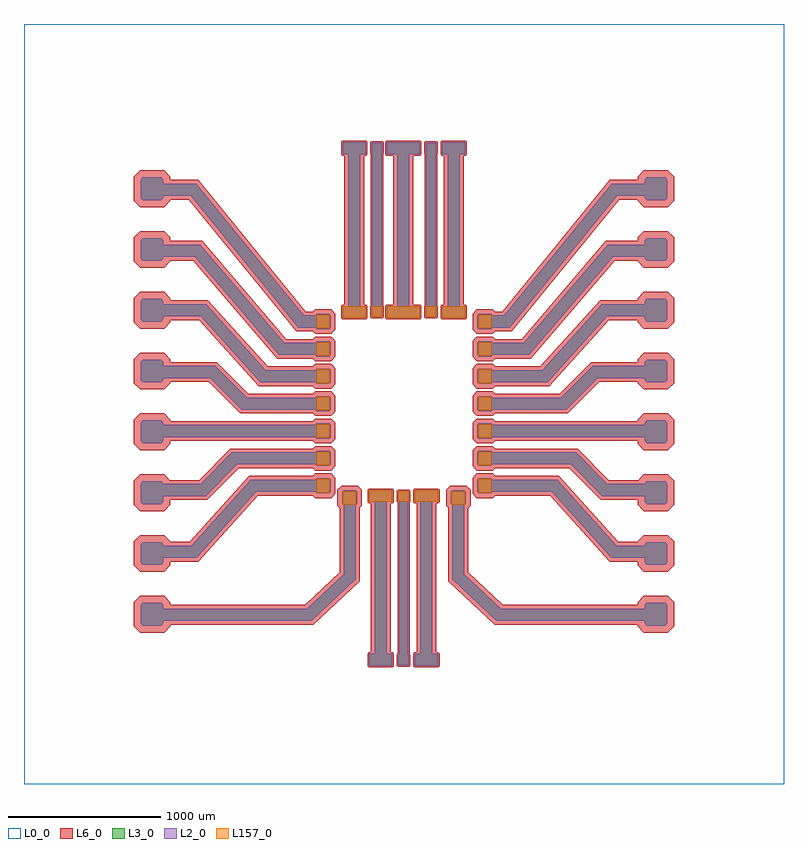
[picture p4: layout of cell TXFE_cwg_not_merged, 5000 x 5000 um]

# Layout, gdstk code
import gdstk
lib = gdstk.Library(unit=1e-6, precision=1e-09)
def R(c, l, rs):  # rectangles x0, y0, x1, y1
    for r in rs: c.add(gdstk.rectangle(r[:2], r[2:], *l))
def P(c, l, *ps):  # polygons
    for p in ps: c.add(gdstk.Polygon(p, *l))
L0_0 = (0, 0)
L2_0 = (2, 0)
L3_0 = (3, 0)
L6_0 = (6, 0)
L157_0 = (157, 0)

txfe_all_pads = lib.new_cell('TXFE_all_pads')
P(txfe_all_pads, L2_0, [(-1382.5,1774.099),(-1397.5,1789.099),(-1397.5,1909.099),(-1382.5,1924.099),(-1262.5,1924.099),(-1247.5,1909.099),(-1247.5,1789.099),(-1262.5,1774.099)],
  [(-1382.5,-1025.901),(-1397.5,-1010.901),(-1397.5,-890.901),(-1382.5,-875.901),(-1262.5,-875.901),(-1247.5,-890.901),(-1247.5,-1010.901),(-1262.5,-1025.901)],
  [(-1382.5,974.099),(-1397.5,989.099),(-1397.5,1109.099),(-1382.5,1124.099),(-1262.5,1124.099),(-1247.5,1109.099),(-1247.5,989.099),(-1262.5,974.099)],
  [(-1382.5,-625.902),(-1397.5,-610.902),(-1397.5,-490.902),(-1382.5,-475.902),(-1262.5,-475.902),(-1247.5,-490.902),(-1247.5,-610.902),(-1262.5,-625.902)],
  [(-1382.5,-225.903),(-1397.5,-210.903),(-1397.5,-90.901),(-1382.5,-75.901),(-1262.5,-75.901),(-1247.5,-90.901),(-1247.5,-210.903),(-1262.5,-225.903)],
  [(-1382.5,174.098),(-1397.5,189.098),(-1397.5,309.098),(-1382.5,324.098),(-1262.5,324.098),(-1247.5,309.098),(-1247.5,189.098),(-1262.5,174.098)],
  [(-1382.5,574.099),(-1397.5,589.099),(-1397.5,709.099),(-1382.5,724.099),(-1262.5,724.099),(-1247.5,709.099),(-1247.5,589.099),(-1262.5,574.099)],
  [(-1382.5,1374.099),(-1397.5,1389.099),(-1397.5,1509.099),(-1382.5,1524.099),(-1262.5,1524.099),(-1247.5,1509.099),(-1247.5,1389.099),(-1262.5,1374.099)],
  [(1932.501,174.098),(1917.501,189.098),(1917.501,309.098),(1932.501,324.098),(2052.501,324.098),(2067.501,309.098),(2067.501,189.098),(2052.501,174.098)],
  [(1932.501,-625.902),(1917.501,-610.902),(1917.501,-490.902),(1932.501,-475.902),(2052.501,-475.902),(2067.501,-490.902),(2067.501,-610.902),(2052.501,-625.902)],
  [(1932.501,-225.903),(1917.501,-210.903),(1917.501,-90.901),(1932.501,-75.901),(2052.501,-75.901),(2067.501,-90.901),(2067.501,-210.903),(2052.501,-225.903)],
  [(1932.501,574.098),(1917.501,589.098),(1917.501,709.098),(1932.501,724.098),(2052.501,724.098),(2067.501,709.098),(2067.501,589.098),(2052.501,574.098)],
  [(1932.501,974.098),(1917.501,989.098),(1917.501,1109.098),(1932.501,1124.098),(2052.501,1124.098),(2067.501,1109.098),(2067.501,989.098),(2052.501,974.098)],
  [(1932.501,1374.099),(1917.501,1389.099),(1917.501,1509.099),(1932.501,1524.099),(2052.501,1524.099),(2067.501,1509.099),(2067.501,1389.099),(2052.501,1374.099)],
  [(1932.501,-1025.902),(1917.501,-1010.902),(1917.501,-890.902),(1932.501,-875.902),(2052.501,-875.902),(2067.501,-890.902),(2067.501,-1010.902),(2052.501,-1025.902)],
  [(1932.501,1774.099),(1917.501,1789.099),(1917.501,1909.099),(1932.501,1924.099),(2052.501,1924.099),(2067.501,1909.099),(2067.501,1789.099),(2052.501,1774.099)],
  [(108,-1289.495),(106,-1287.495),(106,-1213.5),(108,-1211.5),(257,-1211.5),(259,-1213.5),(259,-1287.495),(257,-1289.495)],
  [(408,-1289.495),(406,-1287.495),(406,-1213.5),(408,-1211.5),(557,-1211.5),(559,-1213.5),(559,-1287.495),(557,-1289.495)],
  [(300,-1287.005),(298,-1285.005),(298,-1220.005),(300,-1218.005),(365,-1218.005),(367,-1220.005),(367,-1285.005),(365,-1287.005)],
  [(-67,2076.49),(-69,2078.49),(-69,2152.485),(-67,2154.485),(82,2154.485),(84,2152.485),(84,2078.49),(82,2076.49)],
  [(588,2076.49),(586,2078.49),(586,2152.485),(588,2154.485),(737,2154.485),(739,2152.485),(739,2078.49),(737,2076.49)],
  [(125,2082.995),(123,2084.995),(123,2149.995),(125,2151.995),(190,2151.995),(192,2149.995),(192,2084.995),(190,2082.995)],
  [(480,2082.995),(478,2084.995),(478,2149.995),(480,2151.995),(545,2151.995),(547,2149.995),(547,2084.995),(545,2082.995)],
  [(223,2076.49),(221,2078.49),(221,2152.485),(223,2154.485),(437,2154.485),(439,2152.485),(439,2078.49),(437,2076.49)],
  [(-237.5,924.995),(-247.5,934.995),(-247.5,1014.995),(-237.5,1024.995),(-157.5,1024.995),(-147.5,1014.995),(-147.5,934.995),(-157.5,924.995)],
  [(-237.5,384.995),(-247.5,394.995),(-247.5,474.995),(-237.5,484.995),(-157.5,484.995),(-147.5,474.995),(-147.5,394.995),(-157.5,384.995)],
  [(-237.5,744.995),(-247.5,754.995),(-247.5,834.995),(-237.5,844.995),(-157.5,844.995),(-147.5,834.995),(-147.5,754.995),(-157.5,744.995)],
  [(-237.5,204.995),(-247.5,214.995),(-247.5,294.995),(-237.5,304.995),(-157.5,304.995),(-147.5,294.995),(-147.5,214.995),(-157.5,204.995)],
  [(-237.5,24.995),(-247.5,34.995),(-247.5,114.995),(-237.5,124.995),(-157.5,124.995),(-147.5,114.995),(-147.5,34.995),(-157.5,24.995)],
  [(-237.5,-155.005),(-247.5,-145.005),(-247.5,-65.005),(-237.5,-55.005),(-157.5,-55.005),(-147.5,-65.005),(-147.5,-145.005),(-157.5,-155.005)],
  [(827.5,744.995),(817.5,754.995),(817.5,834.995),(827.5,844.995),(907.5,844.995),(917.5,834.995),(917.5,754.995),(907.5,744.995)],
  [(827.5,564.995),(817.5,574.995),(817.5,654.995),(827.5,664.995),(907.5,664.995),(917.5,654.995),(917.5,574.995),(907.5,564.995)],
  [(827.5,384.995),(817.5,394.995),(817.5,474.995),(827.5,484.995),(907.5,484.995),(917.5,474.995),(917.5,394.995),(907.5,384.995)],
  [(827.5,24.995),(817.5,34.995),(817.5,114.995),(827.5,124.995),(907.5,124.995),(917.5,114.995),(917.5,34.995),(907.5,24.995)],
  [(827.5,-155.005),(817.5,-145.005),(817.5,-65.005),(827.5,-55.005),(907.5,-55.005),(917.5,-65.005),(917.5,-145.005),(907.5,-155.005)],
  [(-62.5,-235.005),(-72.5,-225.005),(-72.5,-145.005),(-62.5,-135.005),(17.5,-135.005),(27.5,-145.005),(27.5,-225.005),(17.5,-235.005)],
  [(652.5,-235.005),(642.5,-225.005),(642.5,-145.005),(652.5,-135.005),(732.5,-135.005),(742.5,-145.005),(742.5,-225.005),(732.5,-235.005)],
  [(827.5,924.995),(817.5,934.995),(817.5,1014.995),(827.5,1024.995),(907.5,1024.995),(917.5,1014.995),(917.5,934.995),(907.5,924.995)],
  [(-237.5,564.995),(-247.5,574.995),(-247.5,654.995),(-237.5,664.995),(-157.5,664.995),(-147.5,654.995),(-147.5,574.995),(-157.5,564.995)],
  [(827.5,204.995),(817.5,214.995),(817.5,294.995),(827.5,304.995),(907.5,304.995),(917.5,294.995),(917.5,214.995),(907.5,204.995)],
  [(108,-211.5),(106,-209.5),(106,-135.505),(108,-133.505),(257,-133.505),(259,-135.505),(259,-209.5),(257,-211.5)],
  [(408,-211.5),(406,-209.5),(406,-135.505),(408,-133.505),(557,-133.505),(559,-135.505),(559,-209.5),(557,-211.5)],
  [(300,-209.01),(298,-207.01),(298,-142.01),(300,-140.01),(365,-140.01),(367,-142.01),(367,-207.01),(365,-209.01)],
  [(-67,998.495),(-69,1000.495),(-69,1074.49),(-67,1076.49),(82,1076.49),(84,1074.49),(84,1000.495),(82,998.495)],
  [(588,998.495),(586,1000.495),(586,1074.49),(588,1076.49),(737,1076.49),(739,1074.49),(739,1000.495),(737,998.495)],
  [(125,1005),(123,1007),(123,1072),(125,1074),(190,1074),(192,1072),(192,1007),(190,1005)],
  [(480,1005),(478,1007),(478,1072),(480,1074),(545,1074),(547,1072),(547,1007),(545,1005)],
  [(223,998.495),(221,1000.495),(221,1074.49),(223,1076.49),(437,1076.49),(439,1074.49),(439,1000.495),(437,998.495)])
P(txfe_all_pads, L3_0, [(-1382.5,1774.099),(-1397.5,1789.099),(-1397.5,1909.099),(-1382.5,1924.099),(-1262.5,1924.099),(-1247.5,1909.099),(-1247.5,1789.099),(-1262.5,1774.099)],
  [(-1382.5,-1025.901),(-1397.5,-1010.901),(-1397.5,-890.901),(-1382.5,-875.901),(-1262.5,-875.901),(-1247.5,-890.901),(-1247.5,-1010.901),(-1262.5,-1025.901)],
  [(-1382.5,974.099),(-1397.5,989.099),(-1397.5,1109.099),(-1382.5,1124.099),(-1262.5,1124.099),(-1247.5,1109.099),(-1247.5,989.099),(-1262.5,974.099)],
  [(-1382.5,-625.902),(-1397.5,-610.902),(-1397.5,-490.902),(-1382.5,-475.902),(-1262.5,-475.902),(-1247.5,-490.902),(-1247.5,-610.902),(-1262.5,-625.902)],
  [(-1382.5,-225.903),(-1397.5,-210.903),(-1397.5,-90.901),(-1382.5,-75.901),(-1262.5,-75.901),(-1247.5,-90.901),(-1247.5,-210.903),(-1262.5,-225.903)],
  [(-1382.5,174.098),(-1397.5,189.098),(-1397.5,309.098),(-1382.5,324.098),(-1262.5,324.098),(-1247.5,309.098),(-1247.5,189.098),(-1262.5,174.098)],
  [(-1382.5,574.099),(-1397.5,589.099),(-1397.5,709.099),(-1382.5,724.099),(-1262.5,724.099),(-1247.5,709.099),(-1247.5,589.099),(-1262.5,574.099)],
  [(-1382.5,1374.099),(-1397.5,1389.099),(-1397.5,1509.099),(-1382.5,1524.099),(-1262.5,1524.099),(-1247.5,1509.099),(-1247.5,1389.099),(-1262.5,1374.099)],
  [(1932.501,174.098),(1917.501,189.098),(1917.501,309.098),(1932.501,324.098),(2052.501,324.098),(2067.501,309.098),(2067.501,189.098),(2052.501,174.098)],
  [(1932.501,-625.902),(1917.501,-610.902),(1917.501,-490.902),(1932.501,-475.902),(2052.501,-475.902),(2067.501,-490.902),(2067.501,-610.902),(2052.501,-625.902)],
  [(1932.501,-225.903),(1917.501,-210.903),(1917.501,-90.901),(1932.501,-75.901),(2052.501,-75.901),(2067.501,-90.901),(2067.501,-210.903),(2052.501,-225.903)],
  [(1932.501,574.098),(1917.501,589.098),(1917.501,709.098),(1932.501,724.098),(2052.501,724.098),(2067.501,709.098),(2067.501,589.098),(2052.501,574.098)],
  [(1932.501,974.098),(1917.501,989.098),(1917.501,1109.098),(1932.501,1124.098),(2052.501,1124.098),(2067.501,1109.098),(2067.501,989.098),(2052.501,974.098)],
  [(1932.501,1374.099),(1917.501,1389.099),(1917.501,1509.099),(1932.501,1524.099),(2052.501,1524.099),(2067.501,1509.099),(2067.501,1389.099),(2052.501,1374.099)],
  [(1932.501,-1025.902),(1917.501,-1010.902),(1917.501,-890.902),(1932.501,-875.902),(2052.501,-875.902),(2067.501,-890.902),(2067.501,-1010.902),(2052.501,-1025.902)],
  [(108,-1289.495),(106,-1287.495),(106,-1213.5),(108,-1211.5),(257,-1211.5),(259,-1213.5),(259,-1287.495),(257,-1289.495)],
  [(408,-1289.495),(406,-1287.495),(406,-1213.5),(408,-1211.5),(557,-1211.5),(559,-1213.5),(559,-1287.495),(557,-1289.495)],
  [(300,-1287.005),(298,-1285.005),(298,-1220.005),(300,-1218.005),(365,-1218.005),(367,-1220.005),(367,-1285.005),(365,-1287.005)],
  [(-67,2076.49),(-69,2078.49),(-69,2152.485),(-67,2154.485),(82,2154.485),(84,2152.485),(84,2078.49),(82,2076.49)],
  [(588,2076.49),(586,2078.49),(586,2152.485),(588,2154.485),(737,2154.485),(739,2152.485),(739,2078.49),(737,2076.49)],
  [(125,2082.995),(123,2084.995),(123,2149.995),(125,2151.995),(190,2151.995),(192,2149.995),(192,2084.995),(190,2082.995)],
  [(480,2082.995),(478,2084.995),(478,2149.995),(480,2151.995),(545,2151.995),(547,2149.995),(547,2084.995),(545,2082.995)],
  [(223,2076.49),(221,2078.49),(221,2152.485),(223,2154.485),(437,2154.485),(439,2152.485),(439,2078.49),(437,2076.49)],
  [(1932.501,1774.099),(1917.501,1789.099),(1917.501,1909.099),(1932.501,1924.099),(2052.501,1924.099),(2067.501,1909.099),(2067.501,1789.099),(2052.501,1774.099)],
  [(-237.5,924.995),(-247.5,934.995),(-247.5,1014.995),(-237.5,1024.995),(-157.5,1024.995),(-147.5,1014.995),(-147.5,934.995),(-157.5,924.995)],
  [(-237.5,384.995),(-247.5,394.995),(-247.5,474.995),(-237.5,484.995),(-157.5,484.995),(-147.5,474.995),(-147.5,394.995),(-157.5,384.995)],
  [(-237.5,744.995),(-247.5,754.995),(-247.5,834.995),(-237.5,844.995),(-157.5,844.995),(-147.5,834.995),(-147.5,754.995),(-157.5,744.995)],
  [(-237.5,204.995),(-247.5,214.995),(-247.5,294.995),(-237.5,304.995),(-157.5,304.995),(-147.5,294.995),(-147.5,214.995),(-157.5,204.995)],
  [(-237.5,24.995),(-247.5,34.995),(-247.5,114.995),(-237.5,124.995),(-157.5,124.995),(-147.5,114.995),(-147.5,34.995),(-157.5,24.995)],
  [(-237.5,-155.005),(-247.5,-145.005),(-247.5,-65.005),(-237.5,-55.005),(-157.5,-55.005),(-147.5,-65.005),(-147.5,-145.005),(-157.5,-155.005)],
  [(827.5,744.995),(817.5,754.995),(817.5,834.995),(827.5,844.995),(907.5,844.995),(917.5,834.995),(917.5,754.995),(907.5,744.995)],
  [(827.5,564.995),(817.5,574.995),(817.5,654.995),(827.5,664.995),(907.5,664.995),(917.5,654.995),(917.5,574.995),(907.5,564.995)],
  [(827.5,384.995),(817.5,394.995),(817.5,474.995),(827.5,484.995),(907.5,484.995),(917.5,474.995),(917.5,394.995),(907.5,384.995)],
  [(827.5,24.995),(817.5,34.995),(817.5,114.995),(827.5,124.995),(907.5,124.995),(917.5,114.995),(917.5,34.995),(907.5,24.995)],
  [(827.5,-155.005),(817.5,-145.005),(817.5,-65.005),(827.5,-55.005),(907.5,-55.005),(917.5,-65.005),(917.5,-145.005),(907.5,-155.005)],
  [(-62.5,-235.005),(-72.5,-225.005),(-72.5,-145.005),(-62.5,-135.005),(17.5,-135.005),(27.5,-145.005),(27.5,-225.005),(17.5,-235.005)],
  [(652.5,-235.005),(642.5,-225.005),(642.5,-145.005),(652.5,-135.005),(732.5,-135.005),(742.5,-145.005),(742.5,-225.005),(732.5,-235.005)],
  [(827.5,924.995),(817.5,934.995),(817.5,1014.995),(827.5,1024.995),(907.5,1024.995),(917.5,1014.995),(917.5,934.995),(907.5,924.995)],
  [(-237.5,564.995),(-247.5,574.995),(-247.5,654.995),(-237.5,664.995),(-157.5,664.995),(-147.5,654.995),(-147.5,574.995),(-157.5,564.995)],
  [(827.5,204.995),(817.5,214.995),(817.5,294.995),(827.5,304.995),(907.5,304.995),(917.5,294.995),(917.5,214.995),(907.5,204.995)],
  [(108,-211.5),(106,-209.5),(106,-135.505),(108,-133.505),(257,-133.505),(259,-135.505),(259,-209.5),(257,-211.5)],
  [(408,-211.5),(406,-209.5),(406,-135.505),(408,-133.505),(557,-133.505),(559,-135.505),(559,-209.5),(557,-211.5)],
  [(300,-209.01),(298,-207.01),(298,-142.01),(300,-140.01),(365,-140.01),(367,-142.01),(367,-207.01),(365,-209.01)],
  [(-67,998.495),(-69,1000.495),(-69,1074.49),(-67,1076.49),(82,1076.49),(84,1074.49),(84,1000.495),(82,998.495)],
  [(588,998.495),(586,1000.495),(586,1074.49),(588,1076.49),(737,1076.49),(739,1074.49),(739,1000.495),(737,998.495)],
  [(125,1005),(123,1007),(123,1072),(125,1074),(190,1074),(192,1072),(192,1007),(190,1005)],
  [(480,1005),(478,1007),(478,1072),(480,1074),(545,1074),(547,1072),(547,1007),(545,1005)],
  [(223,998.495),(221,1000.495),(221,1074.49),(223,1076.49),(437,1076.49),(439,1074.49),(439,1000.495),(437,998.495)])
P(txfe_all_pads, L157_0, [(649.5,-230.005),(647.5,-228.005),(647.5,-142.005),(649.5,-140.005),(735.5,-140.005),(737.5,-142.005),(737.5,-228.005),(735.5,-230.005)],
  [(-65.5,-230.005),(-67.5,-228.005),(-67.5,-142.005),(-65.5,-140.005),(20.5,-140.005),(22.5,-142.005),(22.5,-228.005),(20.5,-230.005)],
  [(-240.5,209.995),(-242.5,211.995),(-242.5,297.995),(-240.5,299.995),(-154.5,299.995),(-152.5,297.995),(-152.5,211.995),(-154.5,209.995)],
  [(-240.5,569.995),(-242.5,571.995),(-242.5,657.995),(-240.5,659.995),(-154.5,659.995),(-152.5,657.995),(-152.5,571.995),(-154.5,569.995)],
  [(-240.5,929.995),(-242.5,931.995),(-242.5,1017.995),(-240.5,1019.995),(-154.5,1019.995),(-152.5,1017.995),(-152.5,931.995),(-154.5,929.995)],
  [(-240.5,749.995),(-242.5,751.995),(-242.5,837.995),(-240.5,839.995),(-154.5,839.995),(-152.5,837.995),(-152.5,751.995),(-154.5,749.995)],
  [(824.5,-150.005),(822.5,-148.005),(822.5,-62.005),(824.5,-60.005),(910.5,-60.005),(912.5,-62.005),(912.5,-148.005),(910.5,-150.005)],
  [(125,1005),(123,1007),(123,1072),(125,1074),(190,1074),(192,1072),(192,1007),(190,1005)],
  [(-240.5,29.995),(-242.5,31.995),(-242.5,117.995),(-240.5,119.995),(-154.5,119.995),(-152.5,117.995),(-152.5,31.995),(-154.5,29.995)],
  [(-240.5,-150.005),(-242.5,-148.005),(-242.5,-62.005),(-240.5,-60.005),(-154.5,-60.005),(-152.5,-62.005),(-152.5,-148.005),(-154.5,-150.005)],
  [(-240.5,389.995),(-242.5,391.995),(-242.5,477.995),(-240.5,479.995),(-154.5,479.995),(-152.5,477.995),(-152.5,391.995),(-154.5,389.995)],
  [(824.5,569.995),(822.5,571.995),(822.5,657.995),(824.5,659.995),(910.5,659.995),(912.5,657.995),(912.5,571.995),(910.5,569.995)],
  [(824.5,749.995),(822.5,751.995),(822.5,837.995),(824.5,839.995),(910.5,839.995),(912.5,837.995),(912.5,751.995),(910.5,749.995)],
  [(588,998.495),(586,1000.495),(586,1074.49),(588,1076.49),(737,1076.49),(739,1074.49),(739,1000.495),(737,998.495)],
  [(824.5,929.995),(822.5,931.995),(822.5,1017.995),(824.5,1019.995),(910.5,1019.995),(912.5,1017.995),(912.5,931.995),(910.5,929.995)],
  [(824.5,389.995),(822.5,391.995),(822.5,477.995),(824.5,479.995),(910.5,479.995),(912.5,477.995),(912.5,391.995),(910.5,389.995)],
  [(480,1005),(478,1007),(478,1072),(480,1074),(545,1074),(547,1072),(547,1007),(545,1005)],
  [(824.5,209.995),(822.5,211.995),(822.5,297.995),(824.5,299.995),(910.5,299.995),(912.5,297.995),(912.5,211.995),(910.5,209.995)],
  [(824.5,29.995),(822.5,31.995),(822.5,117.995),(824.5,119.995),(910.5,119.995),(912.5,117.995),(912.5,31.995),(910.5,29.995)],
  [(223,998.495),(221,1000.495),(221,1074.49),(223,1076.49),(437,1076.49),(439,1074.49),(439,1000.495),(437,998.495)],
  [(-67,998.495),(-69,1000.495),(-69,1074.49),(-67,1076.49),(82,1076.49),(84,1074.49),(84,1000.495),(82,998.495)],
  [(300,-209.01),(298,-207.01),(298,-142.01),(300,-140.01),(365,-140.01),(367,-142.01),(367,-207.01),(365,-209.01)],
  [(408,-211.5),(406,-209.5),(406,-135.505),(408,-133.505),(557,-133.505),(559,-135.505),(559,-209.5),(557,-211.5)],
  [(108,-211.5),(106,-209.5),(106,-135.505),(108,-133.505),(257,-133.505),(259,-135.505),(259,-209.5),(257,-211.5)])
txfe_all_pads.add(gdstk.Label('Vref_CMFB_mixer', (1801.4,-977.1), layer=5, texttype=0))
txfe_all_pads.add(gdstk.Label('SPI_enable', (1958.6,-556.8), layer=5, texttype=0))
txfe_all_pads.add(gdstk.Label('SPI_clk', (1964.8,-156), layer=5, texttype=0))
txfe_all_pads.add(gdstk.Label('SPI_data', (1952.4,240.2), layer=5, texttype=0))
txfe_all_pads.add(gdstk.Label('GND', (1958.6,620.8), layer=5, texttype=0))
txfe_all_pads.add(gdstk.Label('BB_P', (1989.4,1002.4), layer=5, texttype=0))
txfe_all_pads.add(gdstk.Label('BB_N', (1977.1,1421.7), layer=5, texttype=0))
txfe_all_pads.add(gdstk.Label('VDD_LNA2', (1974,1824.2), layer=5, texttype=0))
txfe_all_pads.add(gdstk.Label('VDD_ESD', (-1362.7,242.4), layer=5, texttype=0))
txfe_all_pads.add(gdstk.Label('VDD_LO', (-1326.8,-154), layer=5, texttype=0))
txfe_all_pads.add(gdstk.Label('GND', (-1359,-592.2), layer=5, texttype=0))
txfe_all_pads.add(gdstk.Label('Iref', (-1344.6,-978.7), layer=5, texttype=0))
txfe_all_pads.add(gdstk.Label('VDD_PN', (-1351.8,624.8), layer=5, texttype=0))
txfe_all_pads.add(gdstk.Label('GND', (-1349.8,1022.2), layer=5, texttype=0))
txfe_all_pads.add(gdstk.Label('VDD_CM', (-1344.8,1436.2), layer=5, texttype=0))
txfe_all_pads.add(gdstk.Label('VDD_LNA1', (-1338.8,1838.2), layer=5, texttype=0))
txfe_all_pads.add(gdstk.Label('VDD_LNA2', (867.5,974.4), layer=5, texttype=0))
txfe_all_pads.add(gdstk.Label('BB_N', (867.5,794.4), layer=5, texttype=0))
txfe_all_pads.add(gdstk.Label('BB_P', (867.5,611.4), layer=5, texttype=0))
txfe_all_pads.add(gdstk.Label('GND', (867.5,435.1), layer=5, texttype=0))
txfe_all_pads.add(gdstk.Label('SPI_data', (867.5,249.1), layer=5, texttype=0))
txfe_all_pads.add(gdstk.Label('SPI_clk', (867.5,71.3), layer=5, texttype=0))
txfe_all_pads.add(gdstk.Label('SPI_enable', (867.5,-111.7), layer=5, texttype=0))
txfe_all_pads.add(gdstk.Label('Vref_CMFB_mixer', (642.6,-192.4), layer=5, texttype=0))
txfe_all_pads.add(gdstk.Label('VDD_LNA1', (-197.5,971.4), layer=5, texttype=0))
txfe_all_pads.add(gdstk.Label('VDD_CM', (-197.5,789.7), layer=5, texttype=0))
txfe_all_pads.add(gdstk.Label('GND', (-197.5,612.3), layer=5, texttype=0))
txfe_all_pads.add(gdstk.Label('VDD_PN', (-197.5,429.5), layer=5, texttype=0))
txfe_all_pads.add(gdstk.Label('VDD_ESD', (-197.5,262.9), layer=5, texttype=0))
txfe_all_pads.add(gdstk.Label('VDD_LO', (-197.5,72.6), layer=5, texttype=0))
txfe_all_pads.add(gdstk.Label('GND', (-197.5,-108.6), layer=5, texttype=0))
txfe_all_pads.add(gdstk.Label('Iref', (-34.4,-190.8), layer=5, texttype=0))
txfe_all_pads.add(gdstk.Label('Iref', (-34.4,-190.8), layer=5, texttype=0))
txfe_all_pads.add(gdstk.Label('GND', (-197.5,-108.6), layer=5, texttype=0))
txfe_all_pads.add(gdstk.Label('VDD_LO', (-197.5,72.6), layer=5, texttype=0))
txfe_all_pads.add(gdstk.Label('VDD_ESD', (-197.5,262.9), layer=5, texttype=0))
txfe_all_pads.add(gdstk.Label('VDD_PN', (-197.5,429.5), layer=5, texttype=0))
txfe_all_pads.add(gdstk.Label('GND', (-197.5,612.3), layer=5, texttype=0))
txfe_all_pads.add(gdstk.Label('VDD_CM', (-197.5,789.7), layer=5, texttype=0))
txfe_all_pads.add(gdstk.Label('VDD_LNA1', (-197.5,971.4), layer=5, texttype=0))
txfe_all_pads.add(gdstk.Label('Vref_CMFB_mixer', (642.6,-192.4), layer=5, texttype=0))
txfe_all_pads.add(gdstk.Label('SPI_enable', (867.5,-111.7), layer=5, texttype=0))
txfe_all_pads.add(gdstk.Label('SPI_clk', (867.5,71.3), layer=5, texttype=0))
txfe_all_pads.add(gdstk.Label('SPI_data', (867.5,249.1), layer=5, texttype=0))
txfe_all_pads.add(gdstk.Label('GND', (867.5,435.1), layer=5, texttype=0))
txfe_all_pads.add(gdstk.Label('BB_P', (867.5,611.4), layer=5, texttype=0))
txfe_all_pads.add(gdstk.Label('BB_N', (867.5,794.4), layer=5, texttype=0))
txfe_all_pads.add(gdstk.Label('VDD_LNA2', (867.5,974.4), layer=5, texttype=0))

txfe_all_pads_connected = lib.new_cell('TXFE_all_pads_connected')
txfe_all_pads_connected.add(gdstk.FlexPath([(6952.3,1131.5),(7062,1131.5),(7768.8,1998.7),(7971.9,1998.7),(7971.9,1998.7)], 80, ends="extended", simple_path=True, layer=3, datatype=0))  # L3_0
txfe_all_pads_connected.add(gdstk.FlexPath([(6934,951.5),(7189.7,951.5),(7741.9,1597.2),(7946.3,1597.2),(7946.3,1597.2),(7946.3,1597.2)], 80, ends="extended", simple_path=True, layer=3, datatype=0))  # L3_0
txfe_all_pads_connected.add(gdstk.FlexPath([(6931.6,771.7),(7310.7,771.9),(7702.7,1206.5),(7933.4,1206.5)], 80, ends="extended", simple_path=True, layer=3, datatype=0))  # L3_0
txfe_all_pads_connected.add(gdstk.FlexPath([(6935.9,591.6),(7435.8,591.9),(7641.7,799.9),(7978.5,799.9)], 80, ends="extended", simple_path=True, layer=3, datatype=0))  # L3_0
txfe_all_pads_connected.add(gdstk.FlexPath([(6944.9,411.4),(7970.7,411.3),(7970.7,411.3),(7970.7,411.3)], 80, ends="extended", simple_path=True, layer=3, datatype=0))  # L3_0
txfe_all_pads_connected.add(gdstk.FlexPath([(6999.7,231.2),(7499.6,230.9),(7705.5,22.9),(8042.3,22.9)], 80, ends="extended", simple_path=True, layer=3, datatype=0))  # L3_0
txfe_all_pads_connected.add(gdstk.FlexPath([(6994.7,51.8),(7373.8,51.6),(7765.8,-383),(7996.5,-383)], 80, ends="extended", simple_path=True, layer=3, datatype=0))  # L3_0
txfe_all_pads_connected.add(gdstk.FlexPath([(6741.7,-91.1),(6741.2,-547.4),(7007.2,-797.1),(7995,-797.6)], 80, ends="extended", simple_path=True, layer=3, datatype=0))  # L3_0
txfe_all_pads_connected.add(gdstk.FlexPath([(6026.7,-91),(6027.2,-547.3),(5761.2,-797),(4773.4,-797.5)], 80, ends="extended", simple_path=True, layer=3, datatype=0))  # L3_0
txfe_all_pads_connected.add(gdstk.FlexPath([(5773.7,51.9),(5394.6,51.7),(5002.6,-382.9),(4771.9,-382.9)], 80, ends="extended", simple_path=True, layer=3, datatype=0))  # L3_0
txfe_all_pads_connected.add(gdstk.FlexPath([(5768.7,231.3),(5268.8,231),(5062.9,23),(4726.1,23)], 80, ends="extended", simple_path=True, layer=3, datatype=0))  # L3_0
txfe_all_pads_connected.add(gdstk.FlexPath([(5823.5,411.5),(4797.7,411.4),(4797.7,411.4),(4797.7,411.4)], 80, ends="extended", simple_path=True, layer=3, datatype=0))  # L3_0
txfe_all_pads_connected.add(gdstk.FlexPath([(5832.5,591.7),(5332.6,592),(5126.7,800),(4789.9,800)], 80, ends="extended", simple_path=True, layer=3, datatype=0))  # L3_0
txfe_all_pads_connected.add(gdstk.FlexPath([(5836.8,771.8),(5457.7,772),(5065.7,1206.6),(4835,1206.6)], 80, ends="extended", simple_path=True, layer=3, datatype=0))  # L3_0
txfe_all_pads_connected.add(gdstk.FlexPath([(5834.4,951.6),(5578.7,951.6),(5026.5,1597.3),(4822.1,1597.3),(4822.1,1597.3),(4822.1,1597.3)], 80, ends="extended", simple_path=True, layer=3, datatype=0))  # L3_0
txfe_all_pads_connected.add(gdstk.FlexPath([(5816.1,1131.6),(5706.4,1131.6),(4999.6,1998.8),(4796.5,1998.8),(4796.5,1998.8)], 80, ends="extended", simple_path=True, layer=3, datatype=0))  # L3_0
txfe_all_pads_connected.add(gdstk.FlexPath([(6056.7,1249.5),(6056.7,2207.7)], 80, ends="extended", simple_path=True, layer=3, datatype=0))  # L3_0
txfe_all_pads_connected.add(gdstk.FlexPath([(6206.7,1241.6),(6206.7,2138.5),(6206.7,2219.2)], 60, ends="extended", simple_path=True, layer=3, datatype=0))  # L3_0
txfe_all_pads_connected.add(gdstk.FlexPath([(6561.7,1245.1),(6561.7,2142),(6561.7,2222.7)], 60, ends="extended", simple_path=True, layer=3, datatype=0))  # L3_0
txfe_all_pads_connected.add(gdstk.FlexPath([(6381.7,-1049),(6381.7,-152.1),(6381.7,-71.4)], 60, ends="extended", simple_path=True, layer=3, datatype=0))  # L3_0
txfe_all_pads_connected.add(gdstk.FlexPath([(6379.2,1249.5),(6379.2,2207.7)], 80, ends="extended", simple_path=True, layer=3, datatype=0))  # L3_0
txfe_all_pads_connected.add(gdstk.FlexPath([(6711.7,1253),(6711.7,2211.2)], 80, ends="extended", simple_path=True, layer=3, datatype=0))  # L3_0
txfe_all_pads_connected.add(gdstk.FlexPath([(6231.7,-1034.4),(6231.7,-76.2)], 80, ends="extended", simple_path=True, layer=3, datatype=0))  # L3_0
txfe_all_pads_connected.add(gdstk.FlexPath([(6531.7,-1041.3),(6531.7,-83.1)], 80, ends="extended", simple_path=True, layer=3, datatype=0))  # L3_0
txfe_all_pads_connected.add(gdstk.FlexPath([(6056.7,1249.5),(6056.7,2207.7)], 80, ends="extended", simple_path=True, layer=2, datatype=0))  # L2_0
txfe_all_pads_connected.add(gdstk.FlexPath([(6206.7,1241.6),(6206.7,2138.5),(6206.7,2219.2)], 60, ends="extended", simple_path=True, layer=2, datatype=0))  # L2_0
txfe_all_pads_connected.add(gdstk.FlexPath([(6561.7,1245.1),(6561.7,2142),(6561.7,2222.7)], 60, ends="extended", simple_path=True, layer=2, datatype=0))  # L2_0
txfe_all_pads_connected.add(gdstk.FlexPath([(6381.7,-1049),(6381.7,-152.1),(6381.7,-71.4)], 60, ends="extended", simple_path=True, layer=2, datatype=0))  # L2_0
txfe_all_pads_connected.add(gdstk.FlexPath([(6379.2,1249.5),(6379.2,2207.7)], 80, ends="extended", simple_path=True, layer=2, datatype=0))  # L2_0
txfe_all_pads_connected.add(gdstk.FlexPath([(6711.7,1253),(6711.7,2211.2)], 80, ends="extended", simple_path=True, layer=2, datatype=0))  # L2_0
txfe_all_pads_connected.add(gdstk.FlexPath([(6231.7,-1034.4),(6231.7,-76.2)], 80, ends="extended", simple_path=True, layer=2, datatype=0))  # L2_0
txfe_all_pads_connected.add(gdstk.FlexPath([(6531.7,-1041.3),(6531.7,-83.1)], 80, ends="extended", simple_path=True, layer=2, datatype=0))  # L2_0
txfe_all_pads_connected.add(gdstk.FlexPath([(6952.3,1131.5),(7062,1131.5),(7768.8,1998.7),(7971.9,1998.7),(7971.9,1998.7)], 80, ends="extended", simple_path=True, layer=2, datatype=0))  # L2_0
txfe_all_pads_connected.add(gdstk.FlexPath([(6934,951.5),(7189.7,951.5),(7741.9,1597.2),(7946.3,1597.2),(7946.3,1597.2),(7946.3,1597.2)], 80, ends="extended", simple_path=True, layer=2, datatype=0))  # L2_0
txfe_all_pads_connected.add(gdstk.FlexPath([(6931.6,771.7),(7310.7,771.9),(7702.7,1206.5),(7933.4,1206.5)], 80, ends="extended", simple_path=True, layer=2, datatype=0))  # L2_0
txfe_all_pads_connected.add(gdstk.FlexPath([(6935.9,591.6),(7435.8,591.9),(7641.7,799.9),(7978.5,799.9)], 80, ends="extended", simple_path=True, layer=2, datatype=0))  # L2_0
txfe_all_pads_connected.add(gdstk.FlexPath([(6944.9,411.4),(7970.7,411.3),(7970.7,411.3),(7970.7,411.3)], 80, ends="extended", simple_path=True, layer=2, datatype=0))  # L2_0
txfe_all_pads_connected.add(gdstk.FlexPath([(6999.7,231.2),(7499.6,230.9),(7705.5,22.9),(8042.3,22.9)], 80, ends="extended", simple_path=True, layer=2, datatype=0))  # L2_0
txfe_all_pads_connected.add(gdstk.FlexPath([(6994.7,51.8),(7373.8,51.6),(7765.8,-383),(7996.5,-383)], 80, ends="extended", simple_path=True, layer=2, datatype=0))  # L2_0
txfe_all_pads_connected.add(gdstk.FlexPath([(6741.7,-91.1),(6741.2,-547.4),(7007.2,-797.1),(7995,-797.6)], 80, ends="extended", simple_path=True, layer=2, datatype=0))  # L2_0
txfe_all_pads_connected.add(gdstk.FlexPath([(6026.7,-91),(6027.2,-547.3),(5761.2,-797),(4773.4,-797.5)], 80, ends="extended", simple_path=True, layer=2, datatype=0))  # L2_0
txfe_all_pads_connected.add(gdstk.FlexPath([(5773.7,51.9),(5394.6,51.7),(5002.6,-382.9),(4771.9,-382.9)], 80, ends="extended", simple_path=True, layer=2, datatype=0))  # L2_0
txfe_all_pads_connected.add(gdstk.FlexPath([(5768.7,231.3),(5268.8,231),(5062.9,23),(4726.1,23)], 80, ends="extended", simple_path=True, layer=2, datatype=0))  # L2_0
txfe_all_pads_connected.add(gdstk.FlexPath([(5823.5,411.5),(4797.7,411.4),(4797.7,411.4),(4797.7,411.4)], 80, ends="extended", simple_path=True, layer=2, datatype=0))  # L2_0
txfe_all_pads_connected.add(gdstk.FlexPath([(5832.5,591.7),(5332.6,592),(5126.7,800),(4789.9,800)], 80, ends="extended", simple_path=True, layer=2, datatype=0))  # L2_0
txfe_all_pads_connected.add(gdstk.FlexPath([(5836.8,771.8),(5457.7,772),(5065.7,1206.6),(4835,1206.6)], 80, ends="extended", simple_path=True, layer=2, datatype=0))  # L2_0
txfe_all_pads_connected.add(gdstk.FlexPath([(5834.4,951.6),(5578.7,951.6),(5026.5,1597.3),(4822.1,1597.3),(4822.1,1597.3),(4822.1,1597.3)], 80, ends="extended", simple_path=True, layer=2, datatype=0))  # L2_0
txfe_all_pads_connected.add(gdstk.FlexPath([(5816.1,1131.6),(5706.4,1131.6),(4999.6,1998.8),(4796.5,1998.8),(4796.5,1998.8)], 80, ends="extended", simple_path=True, layer=2, datatype=0))  # L2_0
r = gdstk.Reference(txfe_all_pads, (6049.2,156.6)); r.repetition = gdstk.Repetition(1, 1, v1=(0,0), v2=(0,0)); txfe_all_pads_connected.add(r)

txfe_cwg_not_merged_scal = lib.new_cell('TXFE_cwg_not_merged_scales')
R(txfe_cwg_not_merged_scal, L6_0, [(-217.5,-1691.195,-87.5,-602.995), (82.5,-1680.095,212.5,-591.895), (-70,594.805,60,1683.005), (-392.5,596.505,-262.5,1684.705), (262.5,608.605,392.5,1696.805)])
P(txfe_cwg_not_merged_scal, L6_0, [(-410.34,-698.5),(-438.5,-670.34),(-438.5,-564.66),(-410.34,-536.5),(-304.66,-536.5),(-276.5,-564.66),(-276.5,-670.34),(-304.66,-698.5)],
  [(304.66,-698.5),(276.5,-670.34),(276.5,-564.66),(304.66,-536.5),(410.34,-536.5),(438.5,-564.66),(438.5,-670.34),(410.34,-698.5)],
  [(-585.34,-618.5),(-613.5,-590.34),(-613.5,-484.66),(-585.34,-456.5),(-479.66,-456.5),(-451.5,-484.66),(-451.5,-590.34),(-479.66,-618.5)],
  [(479.66,-618.5),(451.5,-590.34),(451.5,-484.66),(479.66,-456.5),(585.34,-456.5),(613.5,-484.66),(613.5,-590.34),(585.34,-618.5)],
  [(-585.34,-438.5),(-613.5,-410.34),(-613.5,-304.66),(-585.34,-276.5),(-479.66,-276.5),(-451.5,-304.66),(-451.5,-410.34),(-479.66,-438.5)],
  [(479.66,-438.5),(451.5,-410.34),(451.5,-304.66),(479.66,-276.5),(585.34,-276.5),(613.5,-304.66),(613.5,-410.34),(585.34,-438.5)],
  [(-585.34,-258.5),(-613.5,-230.34),(-613.5,-124.66),(-585.34,-96.5),(-479.66,-96.5),(-451.5,-124.66),(-451.5,-230.34),(-479.66,-258.5)],
  [(479.66,-258.5),(451.5,-230.34),(451.5,-124.66),(479.66,-96.5),(585.34,-96.5),(613.5,-124.66),(613.5,-230.34),(585.34,-258.5)],
  [(-585.34,-78.5),(-613.5,-50.34),(-613.5,55.34),(-585.34,83.5),(-479.66,83.5),(-451.5,55.34),(-451.5,-50.34),(-479.66,-78.5)],
  [(479.66,-78.5),(451.5,-50.34),(451.5,55.34),(479.66,83.5),(585.34,83.5),(613.5,55.34),(613.5,-50.34),(585.34,-78.5)],
  [(-585.34,101.5),(-613.5,129.66),(-613.5,235.34),(-585.34,263.5),(-479.66,263.5),(-451.5,235.34),(-451.5,129.66),(-479.66,101.5)],
  [(479.66,101.5),(451.5,129.66),(451.5,235.34),(479.66,263.5),(585.34,263.5),(613.5,235.34),(613.5,129.66),(585.34,101.5)],
  [(-585.34,281.5),(-613.5,309.66),(-613.5,415.34),(-585.34,443.5),(-479.66,443.5),(-451.5,415.34),(-451.5,309.66),(-479.66,281.5)],
  [(479.66,281.5),(451.5,309.66),(451.5,415.34),(479.66,443.5),(585.34,443.5),(613.5,415.34),(613.5,309.66),(585.34,281.5)],
  [(-585.34,461.5),(-613.5,489.66),(-613.5,595.34),(-585.34,623.5),(-479.66,623.5),(-451.5,595.34),(-451.5,489.66),(-479.66,461.5)],
  [(479.66,461.5),(451.5,489.66),(451.5,595.34),(479.66,623.5),(585.34,623.5),(613.5,595.34),(613.5,489.66),(585.34,461.5)],
  [(1675.767,-1451.728),(597.258,-1451.182),(291.969,-1164.601),(292.571,-615.124),(292.572,-615.124),(422.571,-615.267),(422.031,-1108.39),(648.741,-1321.208),(1675.832,-1321.728),(1675.767,-1451.727)],
  [(-1675.767,-1451.628),(-1675.767,-1451.627),(-1675.832,-1321.628),(-648.741,-1321.108),(-422.031,-1108.29),(-422.571,-615.167),(-292.572,-615.024),(-292.571,-615.024),(-291.969,-1164.501),(-597.258,-1451.082)],
  [(1352.694,-1037.095),(960.68,-602.48),(545.466,-602.261),(545.534,-472.261),(1018.52,-472.51),(1410.505,-907.095),(1677.3,-907.095),(1677.3,-1037.095)],
  [(-1677.3,-1036.995),(-1677.3,-906.995),(-1410.505,-906.995),(-1018.52,-472.41),(-545.534,-472.161),(-545.466,-602.161),(-960.68,-602.38),(-1352.694,-1036.995)],
  [(1294.182,-631.195),(1088.267,-423.179),(550.461,-422.856),(550.539,-292.856),(1142.533,-293.211),(1348.418,-501.195),(1723.1,-501.195),(1723.1,-631.195)],
  [(-1723.1,-631.095),(-1723.1,-501.095),(-1348.418,-501.095),(-1142.533,-293.111),(-550.539,-292.756),(-550.461,-422.756),(-1088.267,-423.079),(-1294.182,-631.095)],
  [(1651.493,-242.801),(495.694,-242.689),(495.694,-242.688),(495.707,-112.689),(1651.506,-112.801),(1651.506,-112.802)],
  [(-1651.493,-242.701),(-1651.506,-112.702),(-1651.506,-112.701),(-495.707,-112.589),(-495.694,-242.588),(-495.694,-242.589)],
  [(486.739,-62.534),(486.661,67.466),(1024.467,67.789),(1230.382,275.805),(1659.3,275.805),(1659.3,145.805),(1284.618,145.805),(1078.733,-62.179)],
  [(-486.739,-62.434),(-1078.733,-62.079),(-1284.618,145.905),(-1659.3,145.905),(-1659.3,275.905),(-1230.382,275.905),(-1024.467,67.889),(-486.661,67.566)],
  [(482.434,117.571),(482.366,247.571),(897.58,247.79),(1289.594,682.405),(1614.2,682.405),(1614.2,552.405),(1347.405,552.405),(955.42,117.82)],
  [(-482.434,117.671),(-955.42,117.92),(-1347.405,552.505),(-1614.2,552.505),(-1614.2,682.505),(-1289.594,682.505),(-897.58,247.89),(-482.366,247.671)],
  [(484.8,297.405),(484.8,427.405),(775.56,427.405),(1327.76,1073.105),(1627.1,1073.105),(1627.1,943.105),(1387.64,943.105),(835.44,297.405)],
  [(-835.44,297.505),(-1387.64,943.205),(-1627.1,943.205),(-1627.1,1073.205),(-1327.76,1073.205),(-775.56,427.505),(-484.8,427.505),(-484.8,297.505)],
  [(503.1,477.405),(503.1,607.405),(646.923,607.405),(1353.723,1474.605),(1652.7,1474.605),(1652.7,1344.605),(1415.477,1344.605),(708.677,477.405)],
  [(-708.677,477.505),(-1415.477,1344.705),(-1652.7,1344.705),(-1652.7,1474.705),(-1353.723,1474.705),(-646.923,607.505),(-503.1,607.505),(-503.1,477.505)],
  [(1578.447,-1504.397),(1536.501,-1462.451),(1536.501,-1304.343),(1578.447,-1262.397),(1736.555,-1262.397),(1778.501,-1304.343),(1778.501,-1462.451),(1736.555,-1504.397)],
  [(-1736.554,-1504.396),(-1778.5,-1462.45),(-1778.5,-1304.342),(-1736.554,-1262.396),(-1578.446,-1262.396),(-1536.5,-1304.342),(-1536.5,-1462.45),(-1578.446,-1504.396)],
  [(-1736.554,-1104.397),(-1778.5,-1062.451),(-1778.5,-904.343),(-1736.554,-862.397),(-1578.446,-862.397),(-1536.5,-904.343),(-1536.5,-1062.451),(-1578.446,-1104.397)],
  [(1578.447,-1104.397),(1536.501,-1062.451),(1536.501,-904.343),(1578.447,-862.397),(1736.555,-862.397),(1778.501,-904.343),(1778.501,-1062.451),(1736.555,-1104.397)],
  [(-1736.554,-704.398),(-1778.5,-662.452),(-1778.5,-504.342),(-1736.554,-462.396),(-1578.446,-462.396),(-1536.5,-504.342),(-1536.5,-662.452),(-1578.446,-704.398)],
  [(1578.447,-704.398),(1536.501,-662.452),(1536.501,-504.342),(1578.447,-462.396),(1736.555,-462.396),(1778.501,-504.342),(1778.501,-662.452),(1736.555,-704.398)],
  [(-1736.554,-304.397),(-1778.5,-262.451),(-1778.5,-104.343),(-1736.554,-62.397),(-1578.446,-62.397),(-1536.5,-104.343),(-1536.5,-262.451),(-1578.446,-304.397)],
  [(1578.447,-304.397),(1536.501,-262.451),(1536.501,-104.343),(1578.447,-62.397),(1736.555,-62.397),(1778.501,-104.343),(1778.501,-262.451),(1736.555,-304.397)],
  [(1578.447,95.603),(1536.501,137.549),(1536.501,295.657),(1578.447,337.603),(1736.555,337.603),(1778.501,295.657),(1778.501,137.549),(1736.555,95.603)],
  [(-1736.554,95.604),(-1778.5,137.55),(-1778.5,295.658),(-1736.554,337.604),(-1578.446,337.604),(-1536.5,295.658),(-1536.5,137.55),(-1578.446,95.604)],
  [(1578.447,495.603),(1536.501,537.549),(1536.501,695.657),(1578.447,737.603),(1736.555,737.603),(1778.501,695.657),(1778.501,537.549),(1736.555,495.603)],
  [(-1736.554,495.604),(-1778.5,537.55),(-1778.5,695.658),(-1736.554,737.604),(-1578.446,737.604),(-1536.5,695.658),(-1536.5,537.55),(-1578.446,495.604)],
  [(-1736.554,895.604),(-1778.5,937.55),(-1778.5,1095.658),(-1736.554,1137.604),(-1578.446,1137.604),(-1536.5,1095.658),(-1536.5,937.55),(-1578.446,895.604)],
  [(1578.447,895.604),(1536.501,937.55),(1536.501,1095.658),(1578.447,1137.604),(1736.555,1137.604),(1778.501,1095.658),(1778.501,937.55),(1736.555,895.604)],
  [(-1736.554,1295.604),(-1778.5,1337.55),(-1778.5,1495.658),(-1736.554,1537.604),(-1578.446,1537.604),(-1536.5,1495.658),(-1536.5,1337.55),(-1578.446,1295.604)],
  [(1578.447,1295.604),(1536.501,1337.55),(1536.501,1495.658),(1578.447,1537.604),(1736.555,1537.604),(1778.501,1495.658),(1778.501,1337.55),(1736.555,1295.604)],
  [(-406.142,556),(-414,563.858),(-414,646.137),(-406.142,653.995),(-248.858,653.995),(-241,646.137),(-241,563.858),(-248.858,556)],
  [(-116.142,556),(-124,563.858),(-124,646.137),(-116.142,653.995),(106.142,653.995),(114,646.137),(114,563.858),(106.142,556)],
  [(248.858,556),(241,563.858),(241,646.137),(248.858,653.995),(406.142,653.995),(414,646.137),(414,563.858),(406.142,556)],
  [(-214.142,562.505),(-222,570.363),(-222,643.647),(-217.5,648.147),(-217.5,1643.858),(-222,1648.358),(-222,1721.642),(-214.142,1729.5),(-140.858,1729.5),(-133,1721.642),(-133,1648.358),(-137.5,1643.858),(-137.5,648.147),(-133,643.647),(-133,570.363),(-140.858,562.505)],
  [(140.858,562.505),(133,570.363),(133,643.647),(137.5,648.147),(137.5,1643.858),(133,1648.358),(133,1721.642),(140.858,1729.5),(214.142,1729.5),(222,1721.642),(222,1648.358),(217.5,1643.858),(217.5,648.147),(222,643.647),(222,570.363),(214.142,562.505)],
  [(-406.142,1633.995),(-414,1641.853),(-414,1724.132),(-406.142,1731.99),(-248.858,1731.99),(-241,1724.132),(-241,1641.853),(-248.858,1633.995)],
  [(-116.142,1633.995),(-124,1641.853),(-124,1724.132),(-116.142,1731.99),(106.142,1731.99),(114,1724.132),(114,1641.853),(106.142,1633.995)],
  [(248.858,1633.995),(241,1641.853),(241,1724.132),(248.858,1731.99),(406.142,1731.99),(414,1724.132),(414,1641.853),(406.142,1633.995)],
  [(-231.142,-1731.99),(-239,-1724.132),(-239,-1641.853),(-231.142,-1633.995),(-73.858,-1633.995),(-66,-1641.853),(-66,-1724.132),(-73.858,-1731.99)],
  [(68.858,-1731.99),(61,-1724.132),(61,-1641.853),(68.858,-1633.995),(226.142,-1633.995),(234,-1641.853),(234,-1724.132),(226.142,-1731.99)],
  [(-39.142,-1729.5),(-47,-1721.642),(-47,-1648.358),(-42.5,-1643.858),(-42.5,-648.147),(-47,-643.647),(-47,-570.363),(-39.142,-562.505),(34.142,-562.505),(42,-570.363),(42,-643.647),(37.5,-648.147),(37.5,-1643.858),(42,-1648.358),(42,-1721.642),(34.142,-1729.5)],
  [(-231.142,-653.995),(-239,-646.137),(-239,-563.858),(-231.142,-556),(-73.858,-556),(-66,-563.858),(-66,-646.137),(-73.858,-653.995)],
  [(68.858,-653.995),(61,-646.137),(61,-563.858),(68.858,-556),(226.142,-556),(234,-563.858),(234,-646.137),(226.142,-653.995)])

txfe_cwg_not_merged = lib.new_cell('TXFE_cwg_not_merged')
R(txfe_cwg_not_merged, L0_0, [(4000,-2000,9000,3000)])
r = gdstk.Reference(txfe_all_pads_connected, (115.799,-89.095)); r.repetition = gdstk.Repetition(1, 1, v1=(0,0), v2=(0,0)); txfe_cwg_not_merged.add(r)
txfe_cwg_not_merged.add(gdstk.Reference(txfe_cwg_not_merged_scal, (6499.999,500)))

lib.write_gds('TXFE_cwg_not_merged.gds')
